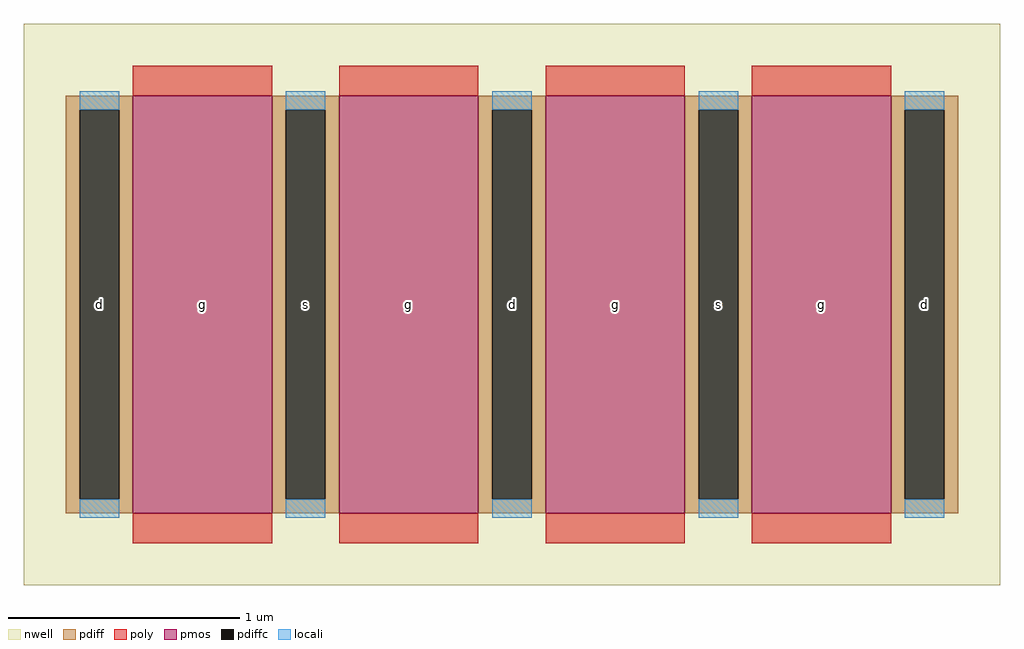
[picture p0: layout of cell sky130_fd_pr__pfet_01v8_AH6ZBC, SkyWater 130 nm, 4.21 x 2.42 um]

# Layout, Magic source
magic
tech sky130A
magscale 1 2
<< nwell >>
rect -421 -242 421 242
<< pmos >>
rect -327 -180 -207 180
rect -149 -180 -29 180
rect 29 -180 149 180
rect 207 -180 327 180
<< pdiff >>
rect -385 168 -327 180
rect -385 -168 -373 168
rect -339 -168 -327 168
rect -385 -180 -327 -168
rect -207 168 -149 180
rect -207 -168 -195 168
rect -161 -168 -149 168
rect -207 -180 -149 -168
rect -29 168 29 180
rect -29 -168 -17 168
rect 17 -168 29 168
rect -29 -180 29 -168
rect 149 168 207 180
rect 149 -168 161 168
rect 195 -168 207 168
rect 149 -180 207 -168
rect 327 168 385 180
rect 327 -168 339 168
rect 373 -168 385 168
rect 327 -180 385 -168
<< pdiffc >>
rect -373 -168 -339 168
rect -195 -168 -161 168
rect -17 -168 17 168
rect 161 -168 195 168
rect 339 -168 373 168
<< poly >>
rect -327 180 -207 206
rect -149 180 -29 206
rect 29 180 149 206
rect 207 180 327 206
rect -327 -206 -207 -180
rect -149 -206 -29 -180
rect 29 -206 149 -180
rect 207 -206 327 -180
<< locali >>
rect -373 168 -339 184
rect -373 -184 -339 -168
rect -195 168 -161 184
rect -195 -184 -161 -168
rect -17 168 17 184
rect -17 -184 17 -168
rect 161 168 195 184
rect 161 -184 195 -168
rect 339 168 373 184
rect 339 -184 373 -168
<< labels >>
flabel pdiffc -356 0 -356 0 0 FreeSans 80 0 0 0 d
flabel pmos -327 -180 -207 180 0 FreeSans 80 0 0 0 g
flabel pdiffc -178 0 -178 0 0 FreeSans 80 0 0 0 s
flabel pmos -149 -180 -29 180 0 FreeSans 80 0 0 0 g
flabel pdiffc 0 0 0 0 0 FreeSans 80 0 0 0 d
flabel pmos 29 -180 149 180 0 FreeSans 80 0 0 0 g
flabel pdiffc 356 0 356 0 0 FreeSans 80 0 0 0 d
flabel pdiffc 178 0 178 0 0 FreeSans 80 0 0 0 s
flabel pmos 207 -180 327 180 0 FreeSans 80 0 0 0 g
<< properties >>
string gencell sky130_fd_pr__pfet_01v8
string library sky130
string parameters w 1.8 l 0.6 m 1 nf 4 diffcov 100 polycov 100 guard 0 glc 0 grc 0 gtc 0 gbc 0 tbcov 100 rlcov 100 topc 0 botc 0 poverlap 0 doverlap 1 lmin 0.15 wmin 0.42 compatible {sky130_fd_pr__pfet_01v8  sky130_fd_pr__pfet_01v8_lvt sky130_fd_pr__pfet_01v8_hvt  sky130_fd_pr__pfet_g5v0d10v5} full_metal 1 viasrc 100 viadrn 100 viagate 100 viagb 0 viagr 0 viagl 0 viagt 0
<< end >>
